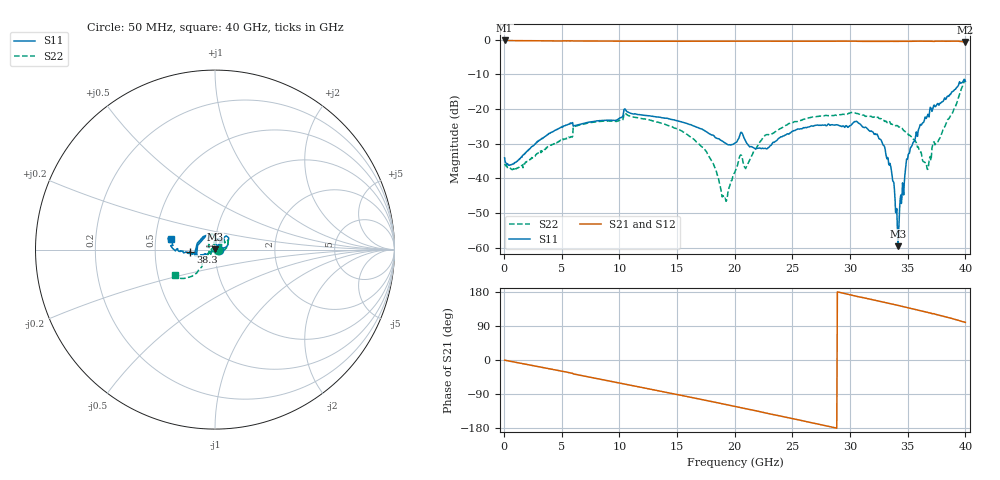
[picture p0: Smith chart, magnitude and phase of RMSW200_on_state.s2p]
! Touchstone file from project SPST_2c_spar
# GHZ S MA R 50.000000
! Modal data exported
! Port[1] = Port1
! Port[2] = Port2
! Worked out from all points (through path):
!   800 points, 50 MHz to 40 GHz, reference 50 ohm
!   highest |S21| = -0.21 dB at 50 MHz (marker M1); lowest = -0.7 dB at 40 GHz (marker M2)
!   group delay of S21, straight-line fit = 17.8 ps
!   lowest |S11| = -59.6 dB at 34.15 GHz (marker M3), VSWR 1.00, Z = 50.1 + j0.0709 ohm
!   |S11| at or under -10 dB: start of sweep to end of sweep
!   |S22| runs from -46.6 to -11.6 dB; largest |S21 - S12| = 0.0097
!   S11 on the Smith chart (normalised r, x): 50 MHz: 1.04, -0.00; 38.3 GHz: 0.76, -0.02; 40 GHz: 0.60, +0.08
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0.05  0.0198 -2.1  0.9767 -0.5  0.9795 -0.4  0.01613 -9.8
! Port Impedance 5.000000E+001 0.000000E+000 5.000000E+001 0.000000E+000
1.45  0.01993 38.2  0.9695 -8.7  0.9709 -8.8  0.01476 25.2
4  0.04476 52.5  0.9634 -23.7  0.9651 -23.8  0.02989 40.0
6.75  0.06114 48.8  0.9598 -41.2  0.9594 -41.1  0.05987 45.4
10.6  0.09404 36.5  0.9537 -64.4  0.9527 -64.4  0.08416 29.1
13.4  0.07669 21.4  0.9518 -81.4  0.9523 -81.3  0.06422 8.0
17.35  0.04923 9.9  0.9527 -105.6  0.9536 -105.6  0.02679 -15.9
19.1  0.03289 22.0  0.9546 -116.6  0.9544 -116.6  0.005138 24.9
20.05  0.03263 43.4  0.9572 -122.7  0.9557 -122.6  0.01278 71.0
20.6  0.04592 37.6  0.9567 -126.3  0.9571 -126.3  0.02118 -13.8
21.05  0.03203 29.8  0.9539 -129.1  0.9533 -129.0  0.01523 -135.6
22.65  0.0272 63.8  0.9588 -139.5  0.9594 -139.5  0.042 148.9
26.7  0.05703 79.2  0.9524 -165.8  0.9523 -165.8  0.07653 117.6
30.65  0.06476 63.9  0.9501 167.3  0.9498 167.4  0.08613 97.4
32.5  0.03758 44.0  0.9471 155.3  0.9466 155.4  0.07343 91.6
33.35  0.01606 26.5  0.9486 149.7  0.9485 149.7  0.06699 92.4
33.65  0.01082 31.4  0.9464 147.5  0.9467 147.6  0.06036 92.7
34.15  0.001051 42.4  0.9485 144.2  0.948 144.1  0.0569 92.3
35.05  0.02206 -147.5  0.9493 137.8  0.9487 137.9  0.04263 94.7
36.6  0.07314 -157.7  0.9519 126.5  0.9519 126.6  0.01669 141.8
38.3  0.1377 -174.8  0.951 113.7  0.952 113.8  0.06004 -142.6
40  0.2511 166.3  0.9261 99.4  0.9251 99.5  0.2631 -147.1
